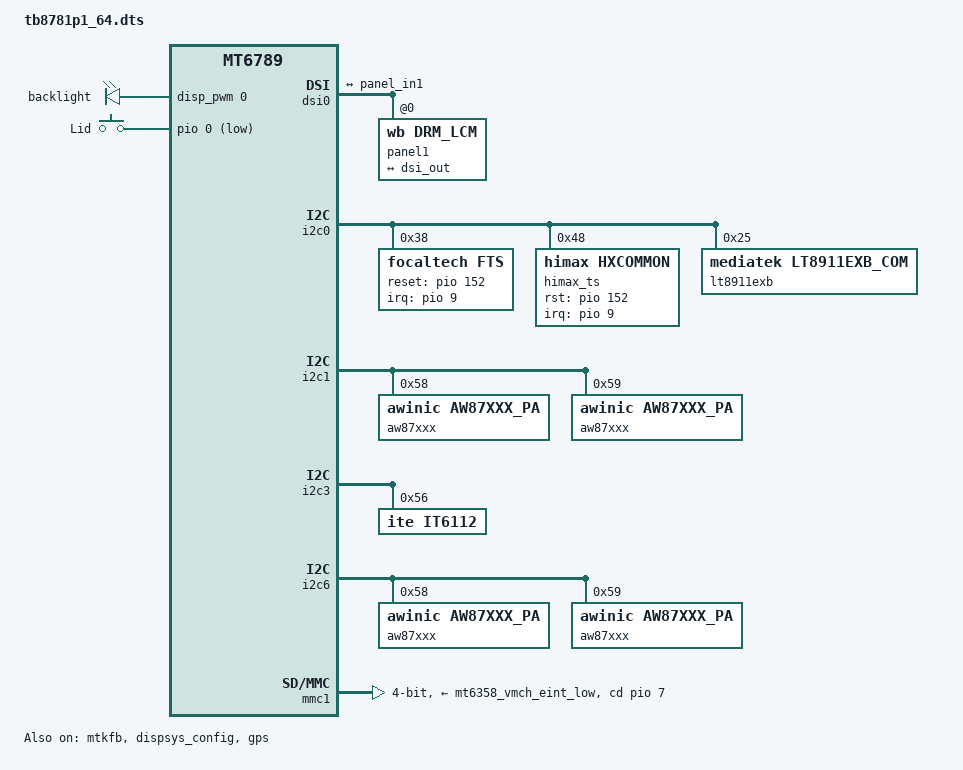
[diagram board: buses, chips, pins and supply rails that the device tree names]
// SPDX-License-Identifier: (GPL-2.0 OR MIT)
/*
 * Copyright (C) 2021 MediaTek Inc.
 */
/dts-v1/;
/plugin/;
#include <dt-bindings/interrupt-controller/arm-gic.h>
#include <dt-bindings/interrupt-controller/irq.h>
#include <dt-bindings/pinctrl/mt6789-pinfunc.h>
#include "mediatek/cust_mt6789_camera.dtsi"
#include <dt-bindings/gpio/gpio.h>
#include <dt-bindings/input/input.h>
#include <generated/wb_config.h>
#include <generated/autoconf.h>
#include "mediatek/bat_setting/wb_mt6789_battery_common.dtsi"
#include "mediatek/lcd/1_wb_lcd_panel_list.dtsi"

&chosen {
};

&android {
	hardware = "mt8781";
};

&mtk_leds {
	compatible = "mediatek,pwm-leds";

	backlight {
		led_mode = <5>;
		gate_enable = <1>;
        	pwms = <&disp_pwm 0 39385>;
		pwm_config = <0 1 0 0 0>;
	};
};

&pio {
	mtkfb_pins_lcd_bias_enp1: lcd_bias_enp1_gpio {
		pins_cmd_dat {
			pinmux = <PINMUX_GPIO38__FUNC_GPIO38>;
			slew-rate = <1>;
			output-high;
		};
	};

	mtkfb_pins_lcd_bias_enp0: lcd_bias_enp0_gpio {
		pins_cmd_dat {
			pinmux = <PINMUX_GPIO38__FUNC_GPIO38>;
			slew-rate = <1>;
			output-low;
		};
	};

	mtkfb_pins_lcd_bias_enn1: lcd_bias_enn1_gpio {
		pins_cmd_dat {
			pinmux = <PINMUX_GPIO39__FUNC_GPIO39>;
			slew-rate = <1>;
			output-high;
		};
	};

	mtkfb_pins_lcd_bias_enn0: lcd_bias_enn0_gpio {
		pins_cmd_dat {
			pinmux = <PINMUX_GPIO39__FUNC_GPIO39>;
			slew-rate = <1>;
			output-low;
		};
	};

	mtkfb_pins_lcm_led_en1: lcm_led_en1_gpio {
		pins_cmd_dat {
			pinmux = <PINMUX_GPIO12__FUNC_GPIO12>;
			slew-rate = <1>;
			output-high;
		};
	};

	mtkfb_pins_lcm_led_en0: lcm_led_en0_gpio {
		pins_cmd_dat {
			pinmux = <PINMUX_GPIO12__FUNC_GPIO12>;
			slew-rate = <1>;
			output-low;
		};
	};

	mtkfb_pins_lcm_rst_out1_gpio: lcm_rst_out1_gpio {
		pins_cmd_dat {
			pinmux = <PINMUX_GPIO85__FUNC_GPIO85>;
			slew-rate = <1>;
			output-high;
		};
	};

	mtkfb_pins_lcm_rst_out0_gpio: lcm_rst_out0_gpio {
		pins_cmd_dat {
			pinmux = <PINMUX_GPIO85__FUNC_GPIO85>;
			slew-rate = <1>;
			output-low;
		};
	};
	mtkfb_pins_lcm_dsi_te: lcm_dsi_te {
		pins_cmd_dat {
			pinmux = <PINMUX_GPIO83__FUNC_DSI_TE>;
		};
	};
	mtkfb_pins_lcd_pwr_1v8_en: lcd_pwr_1v8_en_gpio {
		pins_cmd_dat {
			pinmux = <PINMUX_GPIO52__FUNC_GPIO52>;
		};
	};
	mtkfb_pins_lcd_pwr_3v3_en: lcd_pwr_3v3_en_gpio {
		/*pins_cmd_dat {
			pinmux = <PINMUX_GPIO51__FUNC_GPIO51>;
		};*/
	};    

	mtkfb_pins_tp_rst_gpio: tp_rst_gpio {
		pins_cmd_dat {
			pinmux = <PINMUX_GPIO152__FUNC_GPIO152>;
		};
	};    
};

&mtkfb {
	pinctrl-names = "lcd_bias_enp1_gpio", "lcd_bias_enp0_gpio",
		"lcd_bias_enn1_gpio", "lcd_bias_enn0_gpio",
        	"lcm_led_en1_gpio", "lcm_led_en0_gpio",
		"lcm_rst_out1_gpio", "lcm_rst_out0_gpio",
		"mode_te_te","lcd_pwr_1v8_en_gpio","lcd_pwr_3v3_en_gpio",
        	"tp_rst_gpio";
	pinctrl-0 = <&mtkfb_pins_lcd_bias_enp1>;
	pinctrl-1 = <&mtkfb_pins_lcd_bias_enp0>;
	pinctrl-2 = <&mtkfb_pins_lcd_bias_enn1>;
	pinctrl-3 = <&mtkfb_pins_lcd_bias_enn0>;        
	pinctrl-4 = <&mtkfb_pins_lcm_led_en1>;
	pinctrl-5 = <&mtkfb_pins_lcm_led_en0>;
	pinctrl-6 = <&mtkfb_pins_lcm_rst_out1_gpio>;
	pinctrl-7 = <&mtkfb_pins_lcm_rst_out0_gpio>;
	pinctrl-8 = <&mtkfb_pins_lcm_dsi_te>;
	pinctrl-9 = <&mtkfb_pins_lcd_pwr_1v8_en>;
	pinctrl-10 = <&mtkfb_pins_lcd_pwr_3v3_en>;
	pinctrl-11 = <&mtkfb_pins_tp_rst_gpio>;
	status = "okay";
};

&dispsys_config {
	pinctrl-names =
		"lcm_rst_out1_gpio", "lcm_rst_out0_gpio",
		"mode_te_te";
	pinctrl-0 = <&mtkfb_pins_lcm_rst_out1_gpio>;
	pinctrl-1 = <&mtkfb_pins_lcm_rst_out0_gpio>;
	pinctrl-2 = <&mtkfb_pins_lcm_dsi_te>;
	status = "okay";
};

&dsi0 {
	status = "okay";
	#address-cells = <1>;
	#size-cells = <0>;
	panel1@0 {
		compatible = "wb,drm_lcm";
		reg = <0>;
		pinctrl-names = "default";
		//rotation = <90>;
		port {
			panel_in1: endpoint {
				remote-endpoint = <&dsi_out>;
			};
		};
	};
	
	ports {
		port {
			dsi_out: endpoint {
				remote-endpoint = <&panel_in1>;
			};
		};
	};
};
#if !defined(M100TB_YH_494)
&odm {
	gpio_keys: gpio-keys{
		compatible = "gpio-keys";
		bootmode = <&chosen>;
		lid {
			label = "Lid";
			gpios = <&pio 0 GPIO_ACTIVE_LOW>;
			linux,code = <SW_LID>;
			linux,input-type = <EV_SW>;
			gpio-key,wakeup;
		};
	};
};
#endif

/* GPS GPIO standardization start */
&pio {
	gps_pins_default: gps_default {
	};
	gps_l1_lna_pins_ol: gps_l1_lna@0 {
		pins_cmd_dat {
			pinmux = <PINMUX_GPIO25__FUNC_GPIO25>;
			output-low;
		};
	};
	gps_l1_lna_pins_dsp_ctrl: gps_l1_lna@1 {
		pins_cmd_dat {
			pinmux = <PINMUX_GPIO25__FUNC_GPS_L1_ELNA_EN>;
		};
	};
	gps_l1_lna_pins_oh: gps_l1_lna@2 {
		pins_cmd_dat {
			pinmux = <PINMUX_GPIO25__FUNC_GPIO25>;
			output-high;
		};
	};
	gps_l5_lna_pins_ol: gps_l5_lna@0 {
		pins_cmd_dat {
			pinmux = <PINMUX_GPIO26__FUNC_GPIO26>;
			output-low;
		};
	};
	gps_l5_lna_pins_dsp_ctrl: gps_l5_lna@1 {
		pins_cmd_dat {
			pinmux = <PINMUX_GPIO26__FUNC_GPS_L5_ELNA_EN>;
		};
	};
	gps_l5_lna_pins_oh: gps_l5_lna@2 {
		pins_cmd_dat {
			pinmux = <PINMUX_GPIO26__FUNC_GPIO26>;
			output-high;
		};
	};
};

&extcon_usb {
	pinctrl-names = "default";
	pinctrl-0 = <&docking_eint_default>;
	docking_eint_gpio = <&pio 10 0x0>;
	interrupt-parent = <&pio>;
	interrupts = <10 IRQ_TYPE_LEVEL_LOW 10 0>;
};

&pio {
	docking_eint_default: docking_eint_default {
		pins_cmd_dat {
			pinmux = <PINMUX_GPIO10__FUNC_GPIO10>;
			slew-rate = <0>;
			bias-pull-up;
		};
	};
};

&cust_gpios {
	compatible = "cust,cust_gpios";
	gpio_it6112_en = <&pio 37 0>;
	gpio_bias_pos = <&pio 38 0>;
	gpio_bias_neg = <&pio 39 0>;
	gpio_lcm_1v8 = <&pio 52 0>;
	/*gpio_lcm_3v3 = <&pio 51 0>;*/
	gpio_lcm_rst = <&pio 85 0>;

        /*gpio_edp_irqo2 = <&pio 30 0>;*/
	/*gpio_typec_otg_en   = <&pio 40 0>;*/
	gpio_otg_5v_en      = <&pio 36 0>;
	gpio_docking_en     = <&pio 34 0>;
	gpio_usb_switch     = <&pio 41 0>;
	gpio_auhpr_spk_sw   = <&pio 15 0>;
	gpio_usb_hp_sw      = <&pio 53 0>;
	status = "okay";
};

&gps {
	pinctrl-names = "default",
		"gps_l1_lna_disable",
		"gps_l1_lna_dsp_ctrl",
		"gps_l1_lna_enable",
		"gps_l5_lna_disable",
		"gps_l5_lna_dsp_ctrl",
		"gps_l5_lna_enable";
	pinctrl-0 = <&gps_pins_default>;
	pinctrl-1 = <&gps_l1_lna_pins_ol>;
	pinctrl-2 = <&gps_l1_lna_pins_dsp_ctrl>;
	pinctrl-3 = <&gps_l1_lna_pins_oh>;
	pinctrl-4 = <&gps_l5_lna_pins_ol>;
	pinctrl-5 = <&gps_l5_lna_pins_dsp_ctrl>;
	pinctrl-6 = <&gps_l5_lna_pins_oh>;
	status = "okay";
};
/* GPS GPIO standardization end */

#include "mediatek/gt9xx_dts.dtsi"
//#include "mediatek/cust_mt6789_touch_1080x2400.dtsi"
//#include "mediatek/cust_mt6789_camera_v4l2.dtsi"

&i2c0 {
        focaltech@38{ 
            pinctrl-names = "i2c0_pull_down", "i2c0_pull_up";
            pinctrl-0 = <&i2c0_pull_down_ctrl>;
            pinctrl-1 = <&i2c0_pull_up_ctrl>;
            compatible = "focaltech,fts";
            reg = <0x38>;
            interrupt-parent = <&pio>;
            interrupts = <9 IRQ_TYPE_EDGE_FALLING 9 0>;
            focaltech,reset-gpio = <&pio 152 0>; 
            focaltech,irq-gpio = <&pio 9 IRQ_TYPE_EDGE_FALLING>;
            focaltech,max-touch-number = <10>;
            focaltech,display-coords =  <0 0 1440 2200>;
        };

        //jadard@68{
        //    compatible = "jadard,jdcommon";
        //    reg = <0x68>;
        //    interrupt-parent = <&pio>;
        //    interrupts = <9 IRQ_TYPE_EDGE_FALLING 9 0>;
        //    jadard,panel-sense-nums = <30 48>;
        //    jadard,panel-coords = <0 1200 0 2000>;
        //    jadard,panel-max-points = <10>;
        //    jadard,int-is-edge = <1>;
        //    jadard,irq-gpio = <&pio 9 0>;
        //    jadard,rst-gpio = <&pio 152 0>;
        //};
		//
        //gslx680@68{
        //    compatible = "mediatek,cap_touch";
        //    reg = <0x40>;
        //    gsl,irq-gpios = <&pio 9 0>;
        //    gsl,reset-gpios = <&pio 152 0>;
        //    gsl,power-gpios = <&pio 50 0>;
        //};

        himax_ts@48 {
                compatible = "himax,hxcommon";
                reg = <0x48>;
                //himax,3v3-gpio = <&pio 174 0>;
                himax,rst-gpio = <&pio 152 0>;
                himax,irq-gpio = <&pio 9 0>;
                himax,panel-coords = <0 1200 0 2000>;
                himax,display-coords = <0 1200 0 2000>;
                report_type = <1>;
        };

        lt8911exb@25 {
            compatible = "mediatek,lt8911exb_com";
            reg = <0x25>;
            status = "okay";
        };
		
//		chipone_tddi_i2c@48 {
//            compatible = "chipone,cts";
//            reg = <0x48>;
//	      status = "ok";
//            chipone,rst-gpio = <&pio 152 0x00>;
//            chipone,irq-gpio = <&pio 9 0x00>;
//            chipone,x-res = <1200>;
//            chipone,y-res = <1920>;
//       };
};

&pio {
    i2c0_pull_down_ctrl: i2c0_pull_down_ctrl {
    pins_cmd_dat {
            pinmux = <PINMUX_GPIO130__FUNC_SCL0>,
                        <PINMUX_GPIO131__FUNC_SDA0>;
            slew-rate = <0>;
            bias-pull-down;
        };
    };

    i2c0_pull_up_ctrl: i2c0_pull_up_ctrl {
        pins_cmd_dat {
            pinmux = <PINMUX_GPIO130__FUNC_SCL0>,
                        <PINMUX_GPIO131__FUNC_SDA0>;
            slew-rate = <0>;
            bias-pull-up;
        };
    };
};


&i2c1 {
    aw87xxx@58 {
        compatible = "awinic,aw87xxx_pa";
        reg = <0x58>;
        dev_index = <0>;
        status = "okay";
    }; 
    aw87xxx@59 {
        compatible = "awinic,aw87xxx_pa";
        reg = <0x59>;
        dev_index = <3>;
        status = "okay";
    };
};


&i2c3 {
	it6112@56 {
		compatible = "ite,it6112";
		reg = <0x56>;                      
		status = "okay";
	};
};
    
&i2c6 {
#if 0
    rt9465@4b {
            compatible = "richtek,rt9465";
            reg = <0x4b>;
            status = "okay";
            rt,en_gpio_num = <48>;
            rt,en_gpio = <&pio 48 0x0>;
            mt6306_en_pin = <1>;
            rt,intr_gpio_num = <12>; /* direct defined GPIO num */
            rt,intr_gpio = <&pio 12 0x0>;
            interrupt-names = "wdtmri";
            charger_name = "secondary_chg";
            ichg = <3000000>; /* uA */
            mivr = <4500000>; /* uV */
            cv = <4350000>; /* uV */
            ieoc = <700000>; /* uA */
            safety_timer = <12>; /* hour */
            en_st; /* safety timer */
            /* en_te; */
            en_wdt;
    };
#endif

   aw87xxx@58 {
        compatible = "awinic,aw87xxx_pa";
        reg = <0x58>;
        dev_index = <1>;
        status = "okay";
    }; 
    aw87xxx@59 {
        compatible = "awinic,aw87xxx_pa";
        reg = <0x59>;
        dev_index = <2>;
        status = "okay";
    };

};

&lk_charger{
	max_charger_voltage = <12000000>;
};


&pdc {
#if defined(M100TB_DG_P3PRO_527)
	pd_vbus_upper_bound = <9000000>;
#else
        pd_vbus_upper_bound = <12000000>;
#endif
	dcs_chg1_charger_current = <3000000>;
	dcs_chg2_charger_current = <3000000>;
};


&pe2 {
	/* dual charger in series*/
	dcs_input_current = <6000000>;
	dcs_chg1_charger_current = <3000000>;
	dcs_chg2_charger_current = <3000000>;
#if defined(M100TB_DG_P3PRO_527)
	status = "disabled";
#endif
};

&pe4 {
	/* dual charger in series*/
	dcs_input_current = <6000000>;
	dcs_chg1_charger_current = <3000000>;
	dcs_chg2_charger_current = <3000000>;
#if defined(M100TB_DG_P3PRO_527)
	status = "disabled";
#endif
};

&charger {
	/*min_charger_voltage_1 = <4300000>;*/
	/*max_dmivr_charger_current = <3000000>;*/	
	max_charger_voltage = <13000000>;
	charger_configuration= <0>;
        charger_unlimited;
#if defined(CONFIG_WB_HIGH_4V4_BATTERY_SUPPORT)
	battery_cv = <4400000>;
#elif defined(CONFIG_WB_HIGH_BATTERY_SUPPORT)
	battery_cv = <4350000>;
#else
	battery_cv = <4200000>;
#endif
};

#if 0 //ndef CONFIG_CHARGER_SC8989X
&mt6375_typec {
	pd-data {
		pd,sink-pdo-data = <0x0003c12c 0x000190c8> ;
	};
};
#endif

&accdet {
	headset-eint-level-pol = <8>;
};

&mmc1 {
	host-index = <1>;
	status = "okay";
	pinctrl-names = "default", "state_uhs", "pull_down";
	pinctrl-0 = <&mmc1_pins_default>;
	pinctrl-1 = <&mmc1_pins_uhs>;
	pinctrl-2 = <&mmc1_pins_pull_down>;
	bus-width = <4>;
	max-frequency = <200000000>;
	ocr-voltage = <0x00030000>;
	cap-sd-highspeed;
	sd-uhs-sdr12;
	sd-uhs-sdr25;
	sd-uhs-sdr50;
	sd-uhs-sdr104;
	sd-uhs-ddr50;
	cd-debounce-delay-ms = <0>;
	cd-gpios = <&pio 7 GPIO_ACTIVE_HIGH>;
	vmmc-supply = <&mt6358_vmch_eint_low>;
	vqmmc-supply = <&mt6358_vmc_reg>;
	no-mmc;
	dvfsrc-vcore-supply = <&dvfsrc_vcore>;
	req-vcore = <650000>;
};

&pio {
	mmc1_pins_default: mmc1default {
		pins_cmd_dat {
			pinmux = <PINMUX_GPIO73__FUNC_MSDC1_DAT0>,
				<PINMUX_GPIO74__FUNC_MSDC1_DAT1>,
				<PINMUX_GPIO75__FUNC_MSDC1_DAT2>,
				<PINMUX_GPIO76__FUNC_MSDC1_DAT3>,
				<PINMUX_GPIO72__FUNC_MSDC1_CMD>;
			input-enable;
			drive-strength = <3>;
			bias-pull-up = <MTK_PUPD_SET_R1R0_01>;
		};

		pins_clk {
			pinmux = <PINMUX_GPIO71__FUNC_MSDC1_CLK>;
			drive-strength = <3>;
			bias-pull-down = <MTK_PUPD_SET_R1R0_10>;
		};
	};
	mmc1_pins_uhs: mmc1@0{
		pins_cmd_dat {
			pinmux = <PINMUX_GPIO73__FUNC_MSDC1_DAT0>,
				<PINMUX_GPIO74__FUNC_MSDC1_DAT1>,
				<PINMUX_GPIO75__FUNC_MSDC1_DAT2>,
				<PINMUX_GPIO76__FUNC_MSDC1_DAT3>,
				<PINMUX_GPIO72__FUNC_MSDC1_CMD>;
			input-enable;
			drive-strength = <3>;
			bias-pull-up = <MTK_PUPD_SET_R1R0_01>;
		};

		pins_clk {
			pinmux = <PINMUX_GPIO71__FUNC_MSDC1_CLK>;
			drive-strength = <3>;
			bias-pull-down = <MTK_PUPD_SET_R1R0_10>;
		};
	};
	mmc1_pins_pull_down: mmc1@1 {
		pins_cmd_dat {
			pinmux = <PINMUX_GPIO73__FUNC_MSDC1_DAT0>,
				<PINMUX_GPIO74__FUNC_MSDC1_DAT1>,
				<PINMUX_GPIO75__FUNC_MSDC1_DAT2>,
				<PINMUX_GPIO76__FUNC_MSDC1_DAT3>,
				<PINMUX_GPIO72__FUNC_MSDC1_CMD>;
			input-enable;
			drive-strength = <3>;
			bias-pull-down = <MTK_PUPD_SET_R1R0_10>;
		};

		pins_clk {
			pinmux = <PINMUX_GPIO71__FUNC_MSDC1_CLK>;
			drive-strength = <3>;
			bias-pull-down = <MTK_PUPD_SET_R1R0_10>;
		};
	};

};

//trustkernel L1 patch start
&reserved_memory {
        tkcore_shared_mem {
                compatible ="trustkernel,shared_mem";
                no-map;
                size = <0 0x1000000>;
                alignment = <0 0x1000>;
                alloc-ranges = <0 0x40000000 0 0x80000000>;
        };
        MTEE {
                no-map;
                size = <0 0x100000>;
                alignment = <0 0x100000>;
        };
        SecureVideoPath {
                compatible = "mediatek,mtk_sec_video_path_support";
        };
};
//trustkernel L1 patch end


//#include "mediatek/atouch/m100t_touch_spi.dtsi"
//#include "mediatek/atouch/himax-spi0.dtsi"
#include "mediatek/fingerprint/microarray_finger_m100tbur120.dts"
//#include "mediatek/fingerprint/microarray_finger_m100t.dts"
#include <tb8781p1_64/cust.dtsi>
/*End of this file, DO NOT ADD ANYTHING HERE*/
